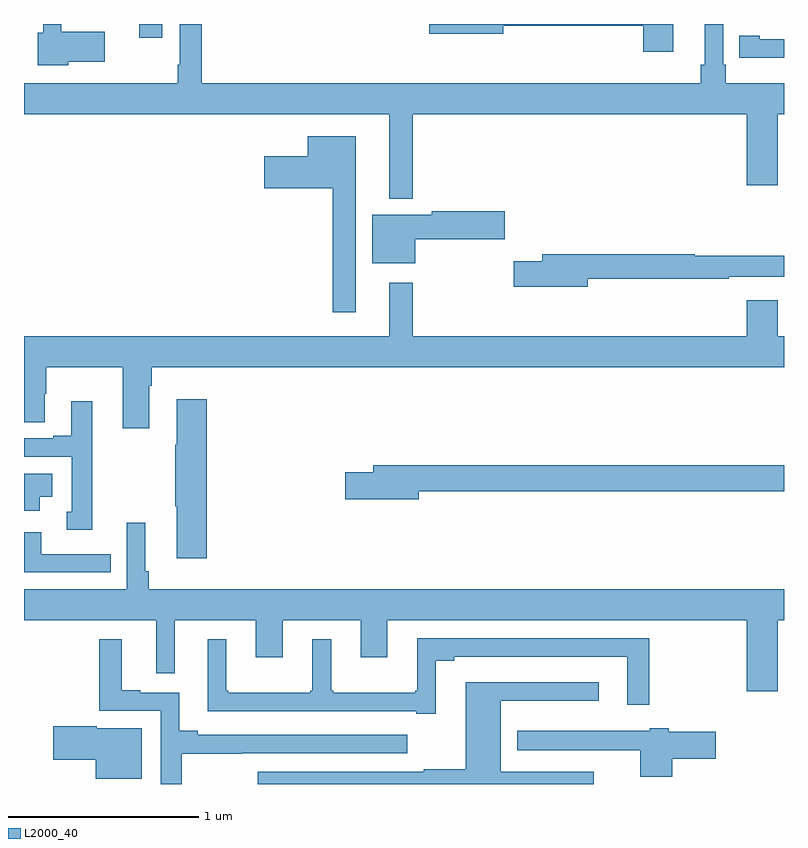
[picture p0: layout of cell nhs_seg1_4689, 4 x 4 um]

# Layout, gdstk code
import gdstk
lib = gdstk.Library(unit=1e-6, precision=1e-09)
def R(c, l, rs):  # rectangles x0, y0, x1, y1
    for r in rs: c.add(gdstk.rectangle(r[:2], r[2:], *l))
def P(c, l, *ps):  # polygons
    for p in ps: c.add(gdstk.Polygon(p, *l))
L2000_40 = (2000, 40)

nhs_seg1_4689 = lib.new_cell('nhs_seg1_4689')
R(nhs_seg1_4689, L2000_40, [(365.606,560.127,365.728,560.199)])
P(nhs_seg1_4689, L2000_40, [(367.045,559.724),(368.804,559.724),(368.804,559.35),(368.968,559.35),(368.968,559.724),(369,559.724),(369,559.888),(368.693,559.888),(368.693,559.984),(368.679,559.984),(368.679,560.199),(368.582,560.199),(368.582,559.984),(368.563,559.984),(368.563,559.888),(365.936,559.888),(365.936,560.199),(365.82,560.199),(365.82,559.984),(365.808,559.984),(365.808,559.888),(365,559.888),(365,559.724),(366.923,559.724),(366.923,559.28),(367.045,559.28)],
  [(365.232,560),(365.425,560),(365.425,560.158),(365.196,560.158),(365.196,560.199),(365.1,560.199),(365.1,560.154),(365.072,560.154),(365.072,559.982),(365.232,559.982)],
  [(368.416,560.199),(367.134,560.199),(367.134,560.147),(367.522,560.147),(367.522,560.19),(368.258,560.19),(368.258,560.052),(368.416,560.052)],
  [(369,560.118),(368.872,560.118),(368.872,560.138),(368.764,560.138),(368.764,560.022),(368.872,560.022),(368.872,560.021),(369,560.021)],
  [(366.745,559.609),(366.494,559.609),(366.494,559.504),(366.264,559.504),(366.264,559.334),(366.624,559.334),(366.624,558.681),(366.745,558.681)],
  [(367.06,559.067),(367.531,559.067),(367.531,559.214),(367.146,559.214),(367.146,559.195),(366.833,559.195),(366.833,558.941),(367.06,558.941)],
  [(367.966,558.858),(368.708,558.858),(368.708,558.87),(369,558.87),(369,558.979),(368.531,558.979),(368.531,558.986),(367.727,558.986),(367.727,558.95),(367.578,558.95),(367.578,558.815),(367.966,558.815)],
  [(368.804,558.745),(368.804,558.556),(367.045,558.556),(367.045,558.838),(366.923,558.838),(366.923,558.556),(365,558.556),(365,558.103),(365.11,558.103),(365.11,558.254),(365.118,558.254),(365.118,558.392),(365.519,558.392),(365.519,558.072),(365.659,558.072),(365.659,558.296),(365.672,558.296),(365.672,558.392),(369,558.392),(369,558.556),(368.968,558.556),(368.968,558.745)],
  [(365.963,558.223),(365.804,558.223),(365.804,557.984),(365.797,557.984),(365.797,557.662),(365.804,557.662),(365.804,557.388),(365.963,557.388)],
  [(365.359,558.214),(365.249,558.214),(365.249,558.031),(365.153,558.031),(365.153,558.018),(365,558.018),(365,557.922),(365.25,557.922),(365.25,557.631),(365.225,557.631),(365.225,557.537),(365.359,557.537)],
  [(367.078,557.74),(369,557.74),(369,557.876),(366.839,557.876),(366.839,557.84),(366.69,557.84),(366.69,557.698),(367.078,557.698)],
  [(365.083,557.711),(365.149,557.711),(365.149,557.833),(365,557.833),(365,557.636),(365.083,557.636)],
  [(365.456,557.409),(365.092,557.409),(365.092,557.524),(365,557.524),(365,557.313),(365.456,557.313)],
  [(365.657,557.32),(365.638,557.32),(365.638,557.575),(365.541,557.575),(365.541,557.224),(365,557.224),(365,557.06),(365.696,557.06),(365.696,556.782),(365.794,556.782),(365.794,557.06),(366.221,557.06),(366.221,556.866),(366.361,556.866),(366.361,557.06),(366.773,557.06),(366.773,556.866),(366.913,556.866),(366.913,557.06),(368.804,557.06),(368.804,556.686),(368.968,556.686),(368.968,557.06),(369,557.06),(369,557.224),(365.657,557.224)],
  [(367.168,556.849),(367.264,556.849),(367.264,556.868),(368.174,556.868),(368.174,556.617),(368.291,556.617),(368.291,556.965),(367.07,556.965),(367.07,556.69),(367.059,556.69),(367.059,556.679),(366.628,556.679),(366.628,556.69),(366.616,556.69),(366.616,556.96),(366.518,556.96),(366.518,556.69),(366.507,556.69),(366.507,556.679),(366.076,556.679),(366.076,556.69),(366.064,556.69),(366.064,556.96),(365.966,556.96),(365.966,556.581),(367.064,556.581),(367.064,556.569),(367.168,556.569)],
  [(365.83,556.357),(366.146,556.357),(366.146,556.362),(367.018,556.362),(367.018,556.458),(365.914,556.458),(365.914,556.478),(365.818,556.478),(365.818,556.68),(365.611,556.68),(365.611,556.693),(365.515,556.693),(365.515,556.96),(365.397,556.96),(365.397,556.584),(365.721,556.584),(365.721,556.199),(365.83,556.199)],
  [(367.998,556.263),(367.51,556.263),(367.51,556.637),(368.026,556.637),(368.026,556.735),(367.325,556.735),(367.325,556.276),(367.105,556.276),(367.105,556.263),(366.231,556.263),(366.231,556.199),(367.998,556.199)],
  [(365.62,556.492),(365.382,556.492),(365.382,556.504),(365.154,556.504),(365.154,556.327),(365.378,556.327),(365.378,556.226),(365.62,556.226)],
  [(368.411,556.333),(368.641,556.333),(368.641,556.475),(368.394,556.475),(368.394,556.493),(368.294,556.493),(368.294,556.48),(367.595,556.48),(367.595,556.376),(368.243,556.376),(368.243,556.236),(368.411,556.236)])

lib.write_gds('nhs_seg1_4689.gds')
